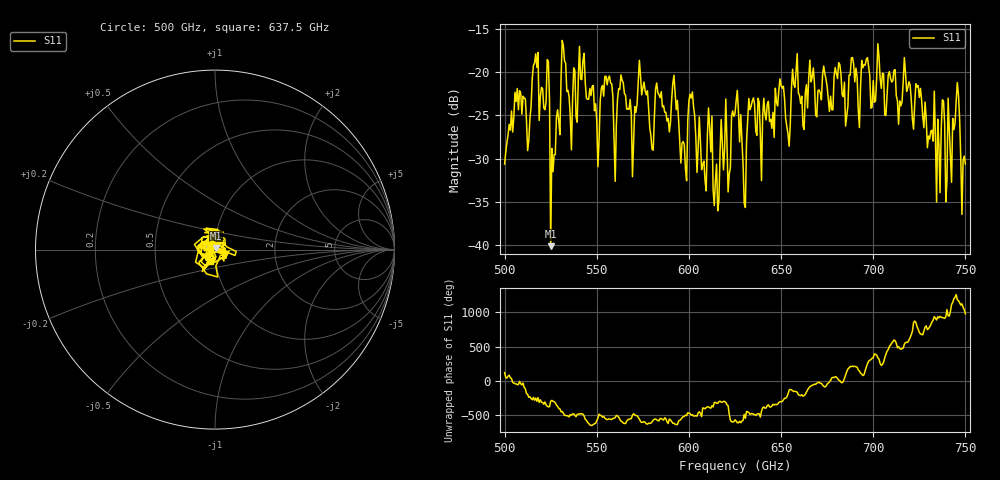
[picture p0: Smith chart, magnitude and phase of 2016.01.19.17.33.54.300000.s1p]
!Created with skrf (http://scikit-rf.org).
# GHz S RI R 50.0
!freq ReS11 ImS11
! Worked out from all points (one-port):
!   401 points, 500 GHz to 750 GHz, reference 50 ohm
!   lowest |S11| = -40.2 dB at 525 GHz (marker M1), VSWR 1.02, Z = 50.4 + j0.899 ohm
!   |S11| at or under -10 dB: start of sweep to end of sweep
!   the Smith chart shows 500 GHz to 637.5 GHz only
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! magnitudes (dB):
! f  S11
! 500 GHz  -30.6
! 506.9 GHz  -21.9
! 513.1 GHz  -27.9
! 516.9 GHz  -17.8
! 523.1 GHz  -18.5
! 525 GHz  -40.2
! 526.2 GHz  -31.5
! 531.2 GHz  -16.3
! 535.6 GHz  -25.1
! 541.9 GHz  -20.8
! 550 GHz  -25.6
! 562.5 GHz  -22.0
! 593.8 GHz  -23.2
! 597.5 GHz  -28.4
! 601.2 GHz  -23.0
! 608.1 GHz  -30.3
! 611.2 GHz  -26.3
! 615 GHz  -30.7
! 625 GHz  -24.8
! 630 GHz  -35.2
! 633.8 GHz  -23.9
! 653.8 GHz  -27.2
! 656.2 GHz  -19.6
! 687.5 GHz  -20.3
! 718.8 GHz  -21.8
! 735 GHz  -25.4
! 745.6 GHz  -21.2
! 750 GHz  -30.6
